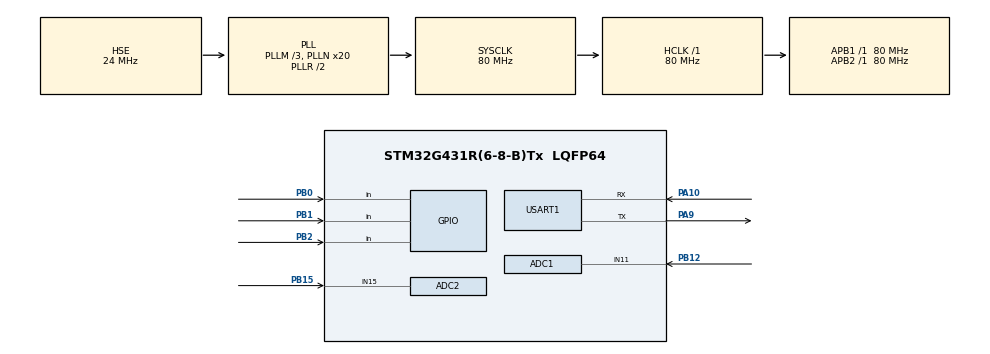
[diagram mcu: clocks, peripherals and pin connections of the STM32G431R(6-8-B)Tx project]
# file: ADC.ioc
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ADC1.Channel-0\#ChannelRegularConversion=ADC_CHANNEL_11
ADC1.NbrOfConversionFlag=1
ADC1.OffsetNumber-0\#ChannelRegularConversion=ADC_OFFSET_NONE
ADC1.Rank-0\#ChannelRegularConversion=1
ADC1.SamplingTime-0\#ChannelRegularConversion=ADC_SAMPLETIME_2CYCLES_5
ADC1.master=1
ADC2.Channel-0\#ChannelRegularConversion=ADC_CHANNEL_15
ADC2.NbrOfConversionFlag=1
ADC2.OffsetNumber-0\#ChannelRegularConversion=ADC_OFFSET_NONE
ADC2.Rank-0\#ChannelRegularConversion=1
ADC2.SamplingTime-0\#ChannelRegularConversion=ADC_SAMPLETIME_2CYCLES_5
Mcu.Family=STM32G4
Mcu.Name=STM32G431R(6-8-B)Tx
Mcu.Package=LQFP64
NVIC.PriorityGroup=NVIC_PRIORITYGROUP_4
PA10.Mode=Asynchronous
PA10.Signal=USART1_RX
PA13.Mode=Serial_Wire
PA13.Signal=SYS_JTMS-SWDIO
PA14.Mode=Serial_Wire
PA14.Signal=SYS_JTCK-SWCLK
PA9.Mode=Asynchronous
PA9.Signal=USART1_TX
PB0.Signal=GPIO_Input
PB1.Signal=GPIO_Input
PB12.Mode=IN11-Single-Ended
PB12.Signal=ADC1_IN11
PB15.Mode=IN15-Single-Ended
PB15.Signal=ADC2_IN15
PB2.Signal=GPIO_Input
PF0-OSC_IN.Mode=HSE-External-Oscillator
PF0-OSC_IN.Signal=RCC_OSC_IN
PF1-OSC_OUT.Mode=HSE-External-Oscillator
PF1-OSC_OUT.Signal=RCC_OSC_OUT
ProjectManager.HeapSize=0x200
ProjectManager.StackSize=0x400
ProjectManager.TargetToolchain=CMake
RCC.ADC12Freq_Value=80000000
RCC.AHBFreq_Value=80000000
RCC.APB1Freq_Value=80000000
RCC.APB1TimFreq_Value=80000000
RCC.APB2Freq_Value=80000000
RCC.APB2TimFreq_Value=80000000
RCC.CortexFreq_Value=80000000
RCC.EXTERNAL_CLOCK_VALUE=12288000
RCC.HCLKFreq_Value=80000000
RCC.HSE_VALUE=24000000
RCC.HSI48_VALUE=48000000
RCC.HSI_VALUE=16000000
RCC.LSE_VALUE=32768
RCC.PLLM=RCC_PLLM_DIV3
RCC.PLLN=20
RCC.PLLSourceVirtual=RCC_PLLSOURCE_HSE
RCC.SYSCLKFreq_VALUE=80000000
RCC.SYSCLKSource=RCC_SYSCLKSOURCE_PLLCLK
RCC.USBFreq_Value=80000000
RCC.VCOOutputFreq_Value=160000000
USART1.VirtualMode-Asynchronous=VM_ASYNC
VP_SYS_VS_DBSignals.Mode=DisableDeadBatterySignals
board=custom

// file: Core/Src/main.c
/* USER CODE BEGIN Header */
/**
  ******************************************************************************
  * @file           : main.c
  * @brief          : Main program body
  ******************************************************************************
  * @attention
  *
  * Copyright (c) 2026 STMicroelectronics.
  * All rights reserved.
  *
  * This software is licensed under terms that can be found in the LICENSE file
  * in the root directory of this software component.
  * If no LICENSE file comes with this software, it is provided AS-IS.
  *
  ******************************************************************************
  */
/* USER CODE END Header */
#include "main.h"
#include "adc.h"
#include "usart.h"
#include "gpio.h"

/* USER CODE BEGIN Includes */
#include <stdint.h>
#include <string.h>

#include "lcd.h"
#include <stdio.h>
#include "fonts.h"
/* USER CODE END Includes */

void SystemClock_Config(void);

int main(void)
{

  /* MCU Configuration--------------------------------------------------------*/

  /* Reset of all peripherals, Initializes the Flash interface and the Systick. */
  HAL_Init();

  /* Configure the system clock */
  SystemClock_Config();

  /* Initialize all configured peripherals */
  MX_GPIO_Init();
  MX_USART1_UART_Init();
  MX_ADC1_Init();
  MX_ADC2_Init();
  /* USER CODE BEGIN 2 */
  LCD_Init();

  char A[20];
  char test[64];
  strcpy(A,"AAAAAA");
  LCD_Clear(Black);
  LCD_SetBackColor(Black);
  LCD_SetTextColor(White);
  /* USER CODE END 2 */

  /* Infinite loop */
  while (1)
  {

    /* USER CODE BEGIN 3 */
    sprintf(test,"   test   ");
    LCD_DisplayStringLine(Line0,(uint8_t *)test);
    sprintf(test,"   ADC_Value2:%.2f   ",Get_ADC(&hadc1));
    LCD_DisplayStringLine(Line3, (uint8_t *)test);
    sprintf(test,"   ADC_Value1:%.2f   ",Get_ADC(&hadc2));
    LCD_DisplayStringLine(Line1,(uint8_t *)test);
  }
  /* USER CODE END 3 */
}

void SystemClock_Config(void)
{
  RCC_OscInitTypeDef RCC_OscInitStruct = {0};
  RCC_ClkInitTypeDef RCC_ClkInitStruct = {0};

  /** Configure the main internal regulator output voltage
  */
  HAL_PWREx_ControlVoltageScaling(PWR_REGULATOR_VOLTAGE_SCALE1);

  /** Initializes the RCC Oscillators according to the specified parameters
  * in the RCC_OscInitTypeDef structure.
  */
  RCC_OscInitStruct.OscillatorType = RCC_OSCILLATORTYPE_HSE;
  RCC_OscInitStruct.HSEState = RCC_HSE_ON;
  RCC_OscInitStruct.PLL.PLLState = RCC_PLL_ON;
  RCC_OscInitStruct.PLL.PLLSource = RCC_PLLSOURCE_HSE;
  RCC_OscInitStruct.PLL.PLLM = RCC_PLLM_DIV3;
  RCC_OscInitStruct.PLL.PLLN = 20;
  RCC_OscInitStruct.PLL.PLLP = RCC_PLLP_DIV2;
  RCC_OscInitStruct.PLL.PLLQ = RCC_PLLQ_DIV2;
  RCC_OscInitStruct.PLL.PLLR = RCC_PLLR_DIV2;
  if (HAL_RCC_OscConfig(&RCC_OscInitStruct) != HAL_OK)
  {
    Error_Handler();
  }

  /** Initializes the CPU, AHB and APB buses clocks
  */
  RCC_ClkInitStruct.ClockType = RCC_CLOCKTYPE_HCLK|RCC_CLOCKTYPE_SYSCLK
                              |RCC_CLOCKTYPE_PCLK1|RCC_CLOCKTYPE_PCLK2;
  RCC_ClkInitStruct.SYSCLKSource = RCC_SYSCLKSOURCE_PLLCLK;
  RCC_ClkInitStruct.AHBCLKDivider = RCC_SYSCLK_DIV1;
  RCC_ClkInitStruct.APB1CLKDivider = RCC_HCLK_DIV1;
  RCC_ClkInitStruct.APB2CLKDivider = RCC_HCLK_DIV1;

  if (HAL_RCC_ClockConfig(&RCC_ClkInitStruct, FLASH_LATENCY_2) != HAL_OK)
  {
    Error_Handler();
  }
}

void Error_Handler(void)
{
  __disable_irq();
  while (1)
  {
  }
}
